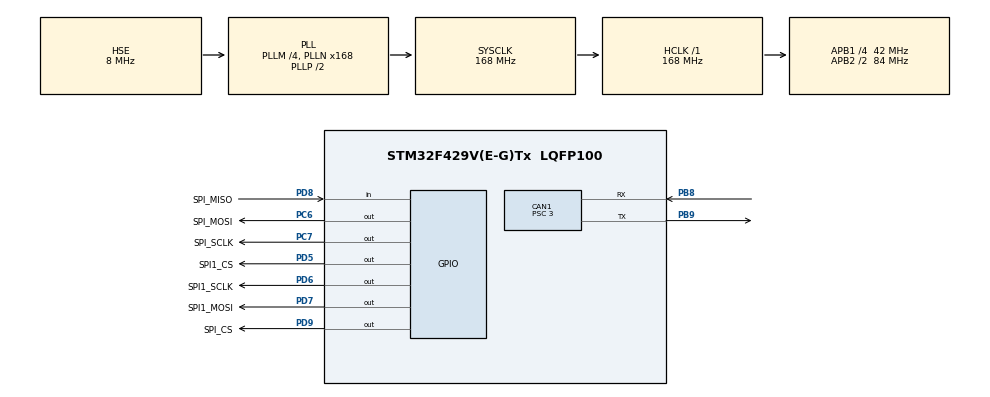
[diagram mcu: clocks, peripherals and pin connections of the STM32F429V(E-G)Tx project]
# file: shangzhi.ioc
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CAN1.BS1=CAN_BS1_12TQ
CAN1.CalculateBaudRate=1000000
CAN1.CalculateTimeBit=1000
CAN1.CalculateTimeQuantum=71.42857142857143
CAN1.Prescaler=3
Mcu.Family=STM32F4
Mcu.Name=STM32F429V(E-G)Tx
Mcu.Package=LQFP100
NVIC.CAN1_RX0_IRQn=true\:0\:0\:false\:false\:true\:true\:true\:true
NVIC.PriorityGroup=NVIC_PRIORITYGROUP_4
PA13.Mode=Serial_Wire
PA13.Signal=SYS_JTMS-SWDIO
PA14.Mode=Serial_Wire
PA14.Signal=SYS_JTCK-SWCLK
PB8.Mode=CAN_Activate
PB8.Signal=CAN1_RX
PB9.Mode=CAN_Activate
PB9.Signal=CAN1_TX
PC6.GPIO_Label=SPI_MOSI
PC6.Signal=GPIO_Output
PC7.GPIO_Label=SPI_SCLK
PC7.Signal=GPIO_Output
PD5.GPIO_Label=SPI1_CS
PD5.Signal=GPIO_Output
PD6.GPIO_Label=SPI1_SCLK
PD6.Signal=GPIO_Output
PD7.GPIO_Label=SPI1_MOSI
PD7.Signal=GPIO_Output
PD8.GPIO_Label=SPI_MISO
PD8.Signal=GPIO_Input
PD9.GPIO_Label=SPI_CS
PD9.Signal=GPIO_Output
PH0/OSC_IN.Mode=HSE-External-Oscillator
PH0/OSC_IN.Signal=RCC_OSC_IN
PH1/OSC_OUT.Mode=HSE-External-Oscillator
PH1/OSC_OUT.Signal=RCC_OSC_OUT
ProjectManager.HeapSize=0x200
ProjectManager.StackSize=0x400
ProjectManager.TargetToolchain=MDK-ARM V5.32
RCC.48MHZClocksFreq_Value=84000000
RCC.AHBFreq_Value=168000000
RCC.APB1CLKDivider=RCC_HCLK_DIV4
RCC.APB1Freq_Value=42000000
RCC.APB1TimFreq_Value=84000000
RCC.APB2CLKDivider=RCC_HCLK_DIV2
RCC.APB2Freq_Value=84000000
RCC.APB2TimFreq_Value=168000000
RCC.CortexFreq_Value=168000000
RCC.HCLKFreq_Value=168000000
RCC.HSE_VALUE=8000000
RCC.HSI_VALUE=16000000
RCC.LSE_VALUE=32768
RCC.PLLM=4
RCC.PLLN=168
RCC.PLLSourceVirtual=RCC_PLLSOURCE_HSE
RCC.SYSCLKFreq_VALUE=168000000
RCC.SYSCLKSource=RCC_SYSCLKSOURCE_PLLCLK
RCC.VCOOutputFreq_Value=336000000
board=custom

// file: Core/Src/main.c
/* USER CODE BEGIN Header */
/**
 ******************************************************************************
 * @file           : main.c
 * @brief          : Main program body
 ******************************************************************************
 * @attention
 *
 * Copyright (c) 2026 STMicroelectronics.
 * All rights reserved.
 *
 * This software is licensed under terms that can be found in the LICENSE file
 * in the root directory of this software component.
 * If no LICENSE file comes with this software, it is provided AS-IS.
 *
 ******************************************************************************
 */
/* USER CODE END Header */
#include "main.h"
#include "can.h"
#include "gpio.h"

/* USER CODE BEGIN Includes */
#include "Dji3508.h"
#include "RS02.h"
#include "DRV8860.h"
/* USER CODE END Includes */

/* USER CODE BEGIN PV */
// DJI 3508:ID=1 ?? moto_chassis[0],ID=2 ?? moto_chassis[1]
RobStride_Motor motor1;
Motor3LoopCtrl_t motor1_3loop;
Motor3LoopCtrl_t motor2_3loop;

extern CAN_HandleTypeDef hcan1; // ????CAN??
uint8_t rxData[8] = {0};

// 3508 ????????????????????? 90�??
volatile uint8_t m3508_feedback_ok[4] = {0};
uint8_t m3508_target_set = 0;
float m3508_target1 = 0.0f;
float m3508_target2 = 0.0f;

// 3508 ????? 8192,get_total_angle() ???? 3508 ???,
// ????? 2048 ????? 90�:8192 * 90 / 360 = 2048
#define M3508_OUTPUT_90DEG_CNT (2048.0f)
#define M3508_CTRL_PERIOD_MS (10U)
/* USER CODE END PV */

void SystemClock_Config(void);

/* USER CODE BEGIN 0 */
// RobStride_Motor motor1;
/* USER CODE END 0 */

int main(void)
{

  /* MCU Configuration--------------------------------------------------------*/

  /* Reset of all peripherals, Initializes the Flash interface and the Systick. */
  HAL_Init();

  /* Configure the system clock */
  SystemClock_Config();

  /* Initialize all configured peripherals */
  MX_GPIO_Init();
  MX_CAN1_Init();
  /* USER CODE BEGIN 2 */
  RS02_UserInit();
  Motor3Loop_Init(&motor1_3loop);
  Motor3Loop_Init(&motor2_3loop);
  DRV8860_init(&drv_1);
  DRV8860_init(&drv_2);
  /* USER CODE END 2 */

  /* Infinite loop */
  /* USER CODE BEGIN WHILE */
  while (1)
  {
    channel_set(&drv_1, DRV8860_CHANNEL_1, 1);
    HAL_Delay(1000);
    channel_set(&drv_1, DRV8860_CHANNEL_1, 0);
    // channel_set(&drv_2, DRV8860_CHANNEL_5, 1);
    RS02_Task();
    if ((m3508_feedback_ok[0] != 0) && (m3508_feedback_ok[1] != 0))
    {
      if (m3508_target_set == 0)
      {
        m3508_target1 = moto_chassis[0].total_angle_output + M3508_OUTPUT_90DEG_CNT;
        m3508_target2 = moto_chassis[1].total_angle_output + M3508_OUTPUT_90DEG_CNT;
        motor1_3loop.target_pos = m3508_target1;
        motor2_3loop.target_pos = m3508_target2;
        m3508_target_set = 1;
      }

      // speed_mode = 0:????????????? C620 ?????
      int16_t cur_cmd1 = Motor3Loop_Update(&motor1_3loop, &moto_chassis[0], 0);
      int16_t cur_cmd2 = Motor3Loop_Update(&motor2_3loop, &moto_chassis[1], 0);
      send_chassis_cur1_4(cur_cmd1, cur_cmd2, 0);
    }
    else
    {
      send_chassis_cur1_4(0, 0, 0);
    }

    HAL_Delay(M3508_CTRL_PERIOD_MS);
    /* USER CODE END WHILE */

  }
}

void SystemClock_Config(void)
{
  RCC_OscInitTypeDef RCC_OscInitStruct = {0};
  RCC_ClkInitTypeDef RCC_ClkInitStruct = {0};

  /** Configure the main internal regulator output voltage
   */
  __HAL_RCC_PWR_CLK_ENABLE();
  __HAL_PWR_VOLTAGESCALING_CONFIG(PWR_REGULATOR_VOLTAGE_SCALE1);

  /** Initializes the RCC Oscillators according to the specified parameters
   * in the RCC_OscInitTypeDef structure.
   */
  RCC_OscInitStruct.OscillatorType = RCC_OSCILLATORTYPE_HSE;
  RCC_OscInitStruct.HSEState = RCC_HSE_ON;
  RCC_OscInitStruct.PLL.PLLState = RCC_PLL_ON;
  RCC_OscInitStruct.PLL.PLLSource = RCC_PLLSOURCE_HSE;
  RCC_OscInitStruct.PLL.PLLM = 4;
  RCC_OscInitStruct.PLL.PLLN = 168;
  RCC_OscInitStruct.PLL.PLLP = RCC_PLLP_DIV2;
  RCC_OscInitStruct.PLL.PLLQ = 4;
  if (HAL_RCC_OscConfig(&RCC_OscInitStruct) != HAL_OK)
  {
    Error_Handler();
  }

  /** Initializes the CPU, AHB and APB buses clocks
   */
  RCC_ClkInitStruct.ClockType = RCC_CLOCKTYPE_HCLK | RCC_CLOCKTYPE_SYSCLK | RCC_CLOCKTYPE_PCLK1 | RCC_CLOCKTYPE_PCLK2;
  RCC_ClkInitStruct.SYSCLKSource = RCC_SYSCLKSOURCE_PLLCLK;
  RCC_ClkInitStruct.AHBCLKDivider = RCC_SYSCLK_DIV1;
  RCC_ClkInitStruct.APB1CLKDivider = RCC_HCLK_DIV4;
  RCC_ClkInitStruct.APB2CLKDivider = RCC_HCLK_DIV2;

  if (HAL_RCC_ClockConfig(&RCC_ClkInitStruct, FLASH_LATENCY_5) != HAL_OK)
  {
    Error_Handler();
  }
}

/* USER CODE BEGIN 4 */
///**
// * @brief  CAN ?? FIFO0 ?? pending ??
// * @param  hcan: ?? CAN ????
// * @note   ???? RS02 ??? DJI 3508 ?????
// */
void HAL_CAN_RxFifo0MsgPendingCallback(CAN_HandleTypeDef *hcan)
{
  CAN_RxHeaderTypeDef rxHeader; // ????
  // ??? CAN1 ????
  if (hcan->Instance != CAN1)
  {
    return;
  }

  // ? FIFO0 ???? CAN ??
  if (HAL_CAN_GetRxMessage(hcan, CAN_RX_FIFO0, &rxHeader, rxData) != HAL_OK)
  {
    return;
  }

  if (rxHeader.IDE == CAN_ID_EXT)
  {
    // ------------------------------
    // RS02 / RobStride ????:???
    // ?? ID_ExtId ??????
    // ------------------------------
    RobStride_Motor_Analysis(&motor1, rxData, rxHeader.ExtId);
    //    RS02_CAN_Analysis_C(rxData, rxHeader.ExtId);
  }
  else if (rxHeader.IDE == CAN_ID_STD)
  {
    // ------------------------------
    // DJI 3508 ????:??? 0x201~0x204
    // ???????????????
    // ------------------------------
    switch (rxHeader.StdId)
    {
    case CAN_2006_M1_ID:
    case CAN_2006_M2_ID:
    case CAN_2006_M3_ID:
    case CAN_2006_M4_ID:
    {
      // ?? StdId ??????
      uint8_t i = rxHeader.StdId - CAN_2006_M1_ID;

      get_motor_measure(&moto_chassis[i], rxData);
      get_total_angle(&moto_chassis[i]);

      // ??? 3508 ??????????
      m3508_feedback_ok[i] = 1;
      break;
    }
      // default:
      //   RobStride_Motor_Analysis(&motor1, rxData, rxHeader.StdId);
      //   break;
    }
  }
}
/* USER CODE END 4 */

void Error_Handler(void)
{
  __disable_irq();
  while (1)
  {
  }
}
